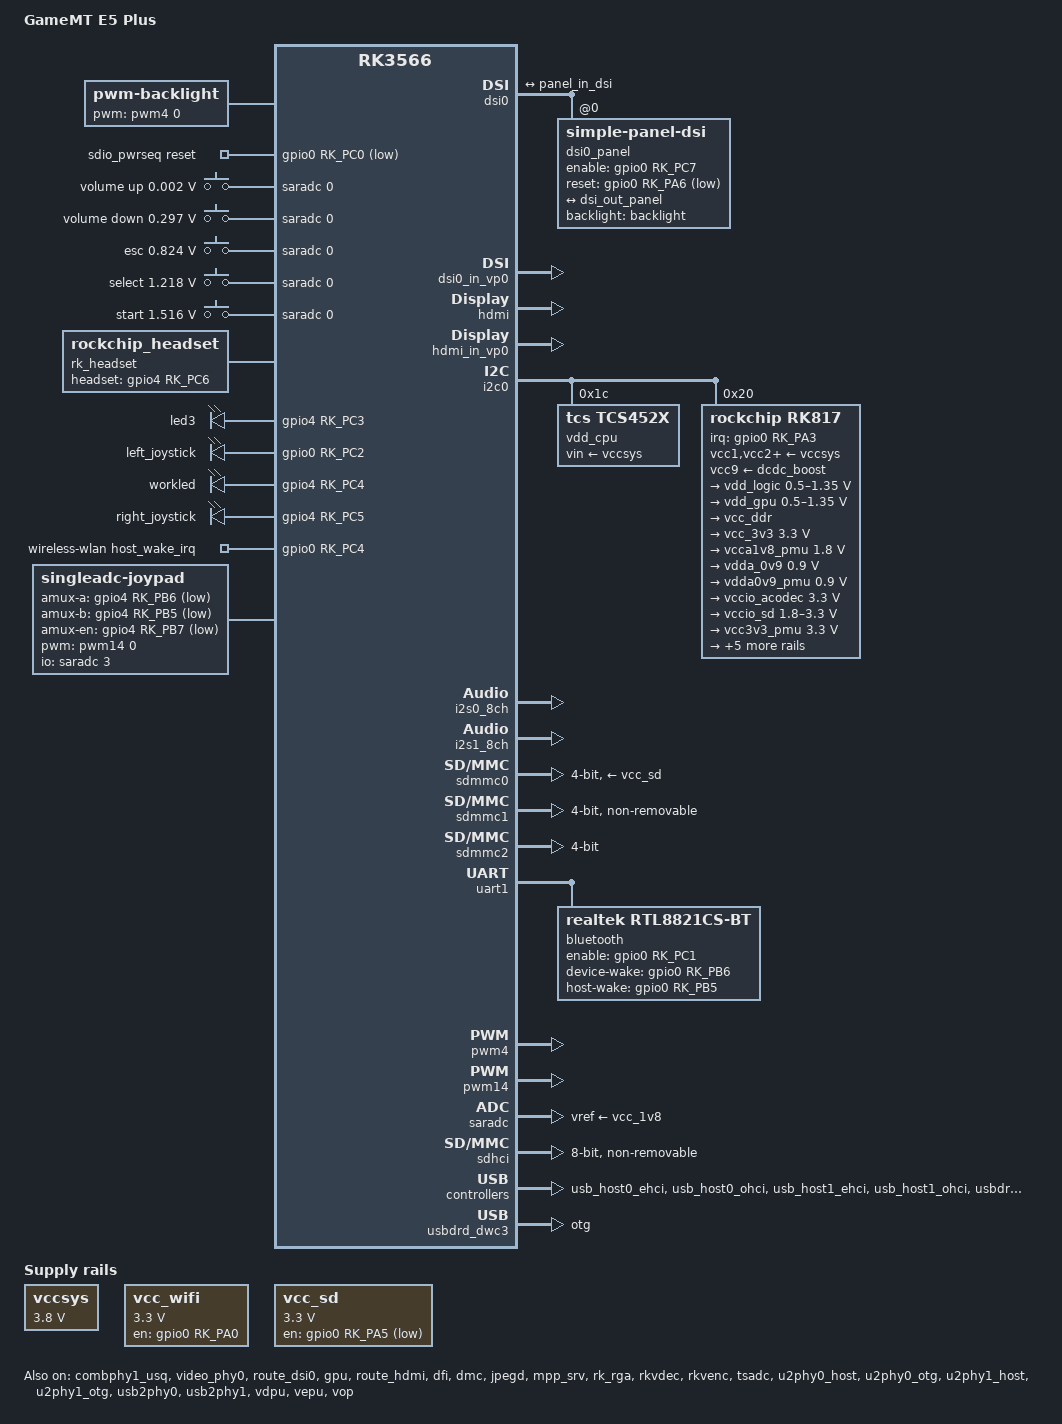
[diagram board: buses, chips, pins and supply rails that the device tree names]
// SPDX-License-Identifier: (GPL-2.0+ OR MIT)
/*
 * GameMT E5 Plus (RK3566, 720x1280 MIPI DSI panel mounted landscape).
 *
 * Board description for christianhaitian's 5.10 BSP kernel. The structure is
 * the RGB30's (rk3566-rgb30.dts in the same tree, known good on this kernel);
 * every board-specific value - panel, pins, PMIC rails, IO domains, battery,
 * charger, SD/SDIO layout - comes from the device tree the E5 Plus's own
 * JELOS/ROCKNIX 4.19 BSP image boots with (model "GameMT E5 Plus",
 * rk3566-evb2-lp4x-v10-linux.dtb), read back from a running unit.
 *
 * Differences from the RGB30 worth knowing:
 *  - TF2 is sdmmc2 (m1 pins, on gpio3) and Wi-Fi SDIO is sdmmc1 - the reverse
 *    of the RGB30. TF2 enumerates as mmcblk3; mount-spruce.sh scans by type,
 *    so nothing keys on the number.
 *  - The panel is portrait 720x1280 and needs fbcon=rotate:1 (stock bootargs).
 *  - Display and HDMI both hang off VP0 as on stock: VP1 tops out at 1080
 *    lines, and this panel is 1280 tall.
 *  - Buttons are mostly on gpio4; i2c2 must stay off (its m1 pins are D-pad
 *    down and the stick mux).
 *  - The right stick is wired with X/Y swapped and Y inverted, and the left
 *    stick is not inverted the way this driver assumes: switch-rxy,
 *    invert-absry, invert-absx and invert-absy, added to singleadcjoy by this
 *    unit's kernel patch.
 */

/dts-v1/;
#include <dt-bindings/pwm/pwm.h>
#include <dt-bindings/input/rk-input.h>
#include <dt-bindings/display/drm_mipi_dsi.h>
#include <dt-bindings/sensor-dev.h>
#include <dt-bindings/gpio/gpio.h>
#include <dt-bindings/display/media-bus-format.h>
#include <dt-bindings/pinctrl/rockchip.h>
#include "rk3566.dtsi"
#include "rk3568-linux.dtsi"
/ {
	model = "GameMT E5 Plus";
	compatible = "gamemt,e5plus", "rockchip,rk3566";

	backlight: backlight {
		compatible = "pwm-backlight";
		pwms = <&pwm4 0 25000 0>;
		/* Stock curve: the last entry is full duty. */
		brightness-levels = <
			  0  20  20  21  21  22  22  23
			 23  24  24  25  25  26  26  27
			 27  28  28  29  29  30  30  31
			 31  32  32  33  33  34  34  35
			 35  36  36  37  37  38  38  39
			 40  41  42  43  44  45  46  47
			 48  49  50  50  51  52  53  54
			 55  55  56  57  58  59  60  61
			 62  63  64  64  65  65  66  67
			 68  69  70  71  71  72  73  74
			 75  76  77  78  79  79  80  81
			 82  83  84  85  86  86  87  88
			 89  90  91  92  93  94  94  95
			 96  97  98  99 100 101 101 102
			103 104 105 106 107 107 108 109
			110 111 112 113 114 115 115 116
			117 118 119 120 121 122 123 123
			124 125 126 127 128 129 130 130
			131 132 133 134 135 136 136 137
			138 139 140 141 142 143 143 144
			145 146 147 147 148 149 150 151
			152 153 154 155 156 156 157 158
			159 157 158 159 160 161 162 162
			163 164 165 166 167 168 169 169
			170 171 172 173 174 175 175 176
			177 178 179 180 181 182 182 183
			184 185 186 187 188 189 190 190
			191 192 193 194 195 196 197 197
			198 199 200 201 202 203 204 204
			205 206 207 208 209 209 210 211
			212 213 213 214 214 215 215 216
			216 217 217 218 218 219 219 220>;
		default-brightness-level = <200>;
	};

	charge-animation {
		compatible = "rockchip,uboot-charge";
		rockchip,uboot-charge-on = <1>;
		rockchip,android-charge-on = <0>;
		rockchip,uboot-low-power-voltage = <3450>;
		rockchip,screen-on-voltage = <3400>;
		status = "okay";
	};

	hdmi_sound: hdmi-sound {
		compatible = "simple-audio-card";
		simple-audio-card,format = "i2s";
		simple-audio-card,mclk-fs = <128>;
		simple-audio-card,name = "rockchip,hdmi";
		/* Never card 0: see rk817-sound. */
		linux,snd-card-index = <1>;
		status = "okay";

		simple-audio-card,cpu {
			sound-dai = <&i2s0_8ch>;
		};
		simple-audio-card,codec {
			sound-dai = <&hdmi>;
		};
	};

	rk817-sound {
		status = "okay";
		compatible = "simple-audio-card";
		simple-audio-card,format = "i2s";
		simple-audio-card,name = "rockchip,rk817-codec";
		simple-audio-card,mclk-fs = <256>;
		/*
		 * dArkMoss and spruce address the codec as card 0. On this board
		 * both cards wait for the DRM bind and HDMI won the race, so pin
		 * the indices (0002-asoc-pin-card-index-from-dt.patch).
		 */
		linux,snd-card-index = <0>;

		simple-audio-card,cpu {
			sound-dai = <&i2s1_8ch>;
		};
		simple-audio-card,codec {
			sound-dai = <&rk817_codec>;
		};
	};

	vccsys: vccsys {
		compatible = "regulator-fixed";
		regulator-name = "vcc3v8_sys";
		regulator-always-on;
		regulator-boot-on;
		regulator-min-microvolt = <3800000>;
		regulator-max-microvolt = <3800000>;
	};

	/*
	 * GPIO0_A0 powers the whole RTL8821CS module (Wi-Fi and Bluetooth), as on
	 * the RGB30. The stock dtb drove it as an active-high pwrseq reset, which
	 * leaves it LOW once the card is up: on hardware neither the SDIO card
	 * nor the BT controller ever answered. Hold it high, as the RGB30 does.
	 */
	vcc_wifi: vcc-wifi {
		compatible = "regulator-fixed";
		regulator-name = "vcc_wifi";
		regulator-always-on;
		regulator-boot-on;
		enable-active-high;
		gpio = <&gpio0 RK_PA0 GPIO_ACTIVE_HIGH>;
		regulator-min-microvolt = <3300000>;
		regulator-max-microvolt = <3300000>;
		pinctrl-names = "default";
		pinctrl-0 = <&vcc_wifi_h>;
	};

	/* GPIO0_C0 is WL_REG_ON. */
	sdio_pwrseq: sdio-pwrseq {
		status = "okay";
		compatible = "mmc-pwrseq-simple";
		clocks = <&rk817 1>;
		clock-names = "ext_clock";
		pinctrl-names = "default";
		pinctrl-0 = <&wifi_enable_h>;
		post-power-on-delay-ms = <200>;
		reset-gpios = <&gpio0 RK_PC0 GPIO_ACTIVE_LOW>;
	};

	vcc_sd: vcc-sd {
		status = "okay";
		compatible = "regulator-gpio";
		enable-active-low;
		enable-gpio = <&gpio0 RK_PA5 GPIO_ACTIVE_LOW>;
		regulator-min-microvolt = <3300000>;
		regulator-max-microvolt = <3300000>;
		pinctrl-names = "default";
		pinctrl-0 = <&vcc_sd_h>;
		regulator-name = "vcc_sd";
		states = <3300000 0x0
			3300000 0x1>;
	};

	/* Volume and three legacy entries on the saradc ladder, as on stock. */
	adc_keys: adc-keys {
		compatible = "adc-keys";
		io-channels = <&saradc 0>;
		io-channel-names = "buttons";
		keyup-threshold-microvolt = <1800000>;
		poll-interval = <100>;

		vol-up-key {
			label = "volume up";
			linux,code = <KEY_VOLUMEUP>;
			press-threshold-microvolt = <1750>;
		};

		vol-down-key {
			label = "volume down";
			linux,code = <KEY_VOLUMEDOWN>;
			press-threshold-microvolt = <297500>;
		};

		esc-key {
			label = "esc";
			linux,code = <KEY_ESC>;
			press-threshold-microvolt = <824000>;
		};

		select-key {
			label = "select";
			linux,code = <KEY_RIGHTSHIFT>;
			press-threshold-microvolt = <1218000>;
		};

		start-key {
			label = "start";
			linux,code = <KEY_ENTER>;
			press-threshold-microvolt = <1516000>;
		};
	};

	rk_headset: rk-headset {
		compatible = "rockchip_headset";
		headset_gpio = <&gpio4 RK_PC6 GPIO_ACTIVE_HIGH>;
		pinctrl-names = "default";
		pinctrl-0 = <&hp_det>;
	};

	leds: gpio-leds {
		compatible = "gpio-leds";
		pinctrl-names = "default";
		pinctrl-0 = <&leds_gpio>;

		led3 {
			label = "led3";
			gpios = <&gpio4 RK_PC3 GPIO_ACTIVE_HIGH>;
			default-state = "on";
		};

		left-joystick {
			label = "left_joystick";
			gpios = <&gpio0 RK_PC2 GPIO_ACTIVE_HIGH>;
			default-state = "on";
		};

		workled {
			label = "workled";
			gpios = <&gpio4 RK_PC4 GPIO_ACTIVE_HIGH>;
			default-state = "on";
		};

		right-joystick {
			label = "right_joystick";
			gpios = <&gpio4 RK_PC5 GPIO_ACTIVE_HIGH>;
			default-state = "on";
		};
	};

	wireless-wlan {
		compatible = "wlan-platdata";
		rockchip,grf = <&grf>;
		wifi_chip_type = "rtl8821cs";
		pinctrl-names = "default";
		pinctrl-0 = <&wifi_host_wake_irq>;
		WIFI,host_wake_irq = <&gpio0 RK_PC4 GPIO_ACTIVE_HIGH>;
		status = "okay";
	};

	/* Bluetooth is the serdev node under uart1, as on the RGB30. */
	wireless-bluetooth {
		status = "disabled";
	};

	joypad: singleadc-joypad {
		compatible = "singleadc-joypad";

		joypad-name = "retrogame_joypad";
		joypad-product = <0x1101>;
		joypad-revision = <0x0100>;

		status = "okay";

		/* rumble */
		pwms = <&pwm14 0 10000 0>;

		pinctrl-names = "default";
		pinctrl-0 = <&btn_pins>;

		io-channel-names = "amux_adc";
		io-channels = <&saradc 3>;

		amux-count = <4>;
		amux-a-gpios = <&gpio4 RK_PB6 GPIO_ACTIVE_LOW>;
		amux-b-gpios = <&gpio4 RK_PB5 GPIO_ACTIVE_LOW>;
		amux-en-gpios = <&gpio4 RK_PB7 GPIO_ACTIVE_LOW>;

		button-adc-scale = <2>;
		button-adc-deadzone = <64>;
		button-adc-fuzz = <32>;
		button-adc-flat = <32>;

		abs_x-p-tuning = <450>;
		abs_x-n-tuning = <450>;
		abs_y-p-tuning = <450>;
		abs_y-n-tuning = <450>;
		abs_rx-p-tuning = <450>;
		abs_rx-n-tuning = <450>;
		abs_ry-p-tuning = <450>;
		abs_ry-n-tuning = <450>;

		/* Right stick: X/Y swapped, Y inverted (stock wiring). */
		switch-rxy;
		invert-absry;
		/*
		 * Left stick: undo the driver's default left-stick inversion,
		 * which is the RGB30 family's wiring, not this board's.
		 */
		invert-absx;
		invert-absy;

		poll-interval = <10>;

		sw1 {
			gpios = <&gpio4 RK_PB3 GPIO_ACTIVE_LOW>;
			label = "GPIO DPAD-UP";
			linux,code = <BTN_DPAD_UP>;
		};
		sw2 {
			gpios = <&gpio4 RK_PB4 GPIO_ACTIVE_LOW>;
			label = "GPIO DPAD-DOWN";
			linux,code = <BTN_DPAD_DOWN>;
		};
		sw3 {
			gpios = <&gpio4 RK_PB1 GPIO_ACTIVE_LOW>;
			label = "GPIO DPAD-LEFT";
			linux,code = <BTN_DPAD_LEFT>;
		};
		sw4 {
			gpios = <&gpio4 RK_PB2 GPIO_ACTIVE_LOW>;
			label = "GPIO DPAD-RIGHT";
			linux,code = <BTN_DPAD_RIGHT>;
		};
		sw5 {
			gpios = <&gpio4 RK_PA7 GPIO_ACTIVE_LOW>;
			label = "GPIO BTN-A";
			linux,code = <BTN_SOUTH>;
		};
		sw6 {
			gpios = <&gpio4 RK_PA6 GPIO_ACTIVE_LOW>;
			label = "GPIO BTN-B";
			linux,code = <BTN_EAST>;
		};
		sw7 {
			gpios = <&gpio4 RK_PA5 GPIO_ACTIVE_LOW>;
			label = "GPIO BTN-X";
			linux,code = <BTN_NORTH>;
		};
		sw8 {
			gpios = <&gpio4 RK_PB0 GPIO_ACTIVE_LOW>;
			label = "GPIO BTN-Y";
			linux,code = <BTN_WEST>;
		};
		sw9 {
			gpios = <&gpio3 RK_PD5 GPIO_ACTIVE_LOW>;
			label = "GPIO BTN_SELECT";
			linux,code = <BTN_SELECT>;
		};
		sw10 {
			gpios = <&gpio3 RK_PD4 GPIO_ACTIVE_LOW>;
			label = "GPIO BTN_START";
			linux,code = <BTN_START>;
		};
		sw11 {
			gpios = <&gpio3 RK_PD3 GPIO_ACTIVE_LOW>;
			label = "GPIO BTN_F";
			linux,code = <BTN_MODE>;
		};
		sw12 {
			gpios = <&gpio4 RK_PA1 GPIO_ACTIVE_LOW>;
			label = "GPIO BTN_TL";
			linux,code = <BTN_TL>;
		};
		sw13 {
			gpios = <&gpio4 RK_PA4 GPIO_ACTIVE_LOW>;
			label = "GPIO BTN_TR2";
			linux,code = <BTN_TR2>;
		};
		sw14 {
			gpios = <&gpio4 RK_PA2 GPIO_ACTIVE_LOW>;
			label = "GPIO BTN_TL2";
			linux,code = <BTN_TL2>;
		};
		sw15 {
			gpios = <&gpio4 RK_PA3 GPIO_ACTIVE_LOW>;
			label = "GPIO BTN_TR";
			linux,code = <BTN_TR>;
		};
		sw16 {
			gpios = <&gpio4 RK_PC0 GPIO_ACTIVE_LOW>;
			label = "GPIO BTN_THUMBL";
			linux,code = <BTN_THUMBL>;
		};
		sw17 {
			gpios = <&gpio4 RK_PC1 GPIO_ACTIVE_LOW>;
			label = "GPIO BTN_THUMBR";
			linux,code = <BTN_THUMBR>;
		};
	};
};

&combphy1_usq {
	status = "okay";
};

&csi2_dphy_hw {
	status = "disabled";
};

&csi2_dphy0 {
	status = "disabled";
};

&csi2_dphy1 {
	status = "disabled";
};

&csi2_dphy2 {
	status = "disabled";
};

/*
 * mipi_dphy0 needs to be enabled
 * when dsi0 is enabled
 */
&dsi0 {
	status = "okay";
	dsi0_panel: panel@0 {
		status = "okay";
		compatible = "simple-panel-dsi";
		reg = <0>;
		backlight = <&backlight>;
		enable-gpios = <&gpio0 RK_PC7 GPIO_ACTIVE_HIGH>;
		reset-gpios = <&gpio0 RK_PA6 GPIO_ACTIVE_LOW>;
		pinctrl-names = "default";
		pinctrl-0 = <&lcd0_rst_gpio &lcd0_en_gpio>;
		prepare-delay-ms = <120>;
		reset-delay-ms = <200>;
		init-delay-ms = <20>;
		enable-delay-ms = <20>;
		disable-delay-ms = <20>;
		unprepare-delay-ms = <120>;
		width-mm = <72>;
		height-mm = <128>;
		dsi,flags = <(MIPI_DSI_MODE_VIDEO           |
			      MIPI_DSI_MODE_VIDEO_BURST     |
			      MIPI_DSI_MODE_LPM             |
			      MIPI_DSI_MODE_EOT_PACKET)>;
		dsi,format = <MIPI_DSI_FMT_RGB888>;
		dsi,lanes  = <4>;
		/* Verbatim from the stock E5 Plus dtb. */
		panel-init-sequence = [
			15 00 02 00 00
			39 00 04 ff 12 84 01
			15 00 02 00 80
			39 00 03 ff 12 84
			15 00 02 00 92
			39 00 03 ff 30 02
			15 00 02 00 80
			39 00 0a c0 00 64 00 0e 12 00 64 0e 12
			15 00 02 00 81
			15 00 02 c1 55
			15 00 02 00 a0
			15 00 02 c1 02
			15 00 02 00 c6
			15 00 02 b0 03
			15 00 02 00 c2
			15 00 02 f5 40
			15 00 02 00 c3
			15 00 02 f5 85
			15 00 02 00 a0
			39 00 0f c4 05 10 06 02 05 15 10 05 10 07 02 05 15 10
			15 00 02 00 b0
			39 00 03 c4 00 00
			15 00 02 00 bb
			15 00 02 c5 8a
			15 00 02 00 91
			39 00 03 c5 16 52
			15 00 02 00 00
			39 00 03 d8 8d 8d
			15 00 02 00 00
			15 00 02 d9 68
			15 00 02 00 b3
			15 00 02 c5 84
			15 00 02 00 90
			39 00 05 f5 02 11 02 15
			15 00 02 00 90
			15 00 02 c5 50
			15 00 02 00 94
			15 00 02 c5 66
			15 00 02 00 b2
			39 00 03 f5 00 00
			15 00 02 00 b4
			39 00 03 f5 00 00
			15 00 02 00 b6
			39 00 03 f5 00 00
			15 00 02 00 b8
			39 00 03 f5 00 00
			15 00 02 00 94
			39 00 03 f5 00 00
			15 00 02 00 d2
			39 00 03 f5 06 15
			15 00 02 00 b4
			15 00 02 c5 cc
			15 00 02 00 80
			39 00 0c cb 00 00 00 00 00 00 00 00 00 00 00
			15 00 02 00 90
			39 00 10 cb 00 00 00 00 00 00 00 00 00 00 00 00 00 00 00
			15 00 02 00 a0
			39 00 10 cb 00 00 00 00 00 00 00 00 00 00 00 00 00 00 00
			15 00 02 00 b0
			39 00 10 cb 00 00 00 00 00 00 00 00 00 00 00 00 00 00 00
			15 00 02 00 c0
			39 00 10 cb 05 05 05 05 05 05 00 00 00 00 00 00 00 00 00
			15 00 02 00 d0
			39 00 10 cb 00 00 00 00 05 05 05 05 05 05 05 05 05 00 00
			15 00 02 00 e0
			39 00 0f cb 00 00 00 00 00 00 00 00 00 00 00 05 05 05
			15 00 02 00 f0
			39 00 0c cb ff ff ff ff ff ff ff fc ff ff ff
			15 00 02 00 80
			39 00 10 cc 0c 0a 10 0e 02 04 00 00 00 00 00 00 00 00 00
			15 00 02 00 90
			39 00 10 cc 00 00 00 00 06 2e 2d 0b 09 0f 0d 01 03 00 00
			15 00 02 00 a0
			39 00 0f cc 00 00 00 00 00 00 00 00 00 00 00 05 2e 2d
			15 00 02 00 b0
			39 00 10 cc 0d 0f 09 0b 03 01 00 00 00 00 00 00 00 00 00
			15 00 02 00 c0
			39 00 10 cc 00 00 00 00 06 2d 2e 0e 10 0a 0c 04 02 00 00
			15 00 02 00 d0
			39 00 0f cc 00 00 00 00 00 00 00 00 00 00 00 05 2d 2e
			15 00 02 00 80
			39 00 0d ce 8b 03 18 8a 03 18 89 03 18 88 03 18
			15 00 02 00 90
			39 00 0f ce 38 0f 18 38 0e 18 00 00 00 00 00 00 00 00
			15 00 02 00 a0
			39 00 0f ce 38 07 05 00 00 18 00 38 06 05 01 00 18 00
			15 00 02 00 b0
			39 00 0f ce 38 05 05 02 00 18 00 38 04 05 03 00 18 00
			15 00 02 00 c0
			39 00 0f ce 38 03 05 04 00 18 00 38 02 05 05 00 18 00
			15 00 02 00 d0
			39 00 0f ce 38 01 05 06 00 18 00 38 00 05 07 00 18 00
			15 00 02 00 80
			39 00 0f cf 00 00 00 00 00 00 00 00 00 00 00 00 00 00
			15 00 02 00 90
			39 00 0f cf 00 00 00 00 00 00 00 00 00 00 00 00 00 00
			15 00 02 00 a0
			39 00 0f cf 00 00 00 00 00 00 00 00 00 00 00 00 00 00
			15 00 02 00 b0
			39 00 0f cf 00 00 00 00 00 00 00 00 00 00 00 00 00 00
			15 00 02 00 c0
			39 00 0c cf 01 01 20 20 00 00 02 81 00 03 08
			15 00 02 00 b5
			39 00 07 c5 38 11 7f 38 11 7f
			15 00 02 00 00
			39 00 04 ff ff ff ff
			05 78 01 11
			05 14 01 29
		];

		panel-exit-sequence = [
			05 10 01 28
			05 20 01 10
		];

		disp_timings0: display-timings {
			native-mode = <&dsi0_timing0>;
			dsi0_timing0: timing0 {
				clock-frequency = <65000000>;
				hactive = <720>;
				vactive = <1280>;
				hfront-porch = <30>;
				hsync-len = <20>;
				hback-porch = <35>;
				vfront-porch = <17>;
				vsync-len = <4>;
				vback-porch = <31>;
				hsync-active = <0>;
				vsync-active = <0>;
				de-active = <0>;
				pixelclk-active = <0>;
			};
		};

		ports {
			#address-cells = <1>;
			#size-cells = <0>;

			port@0 {
				reg = <0>;
				panel_in_dsi: endpoint {
					remote-endpoint = <&dsi_out_panel>;
				};
			};
		};
	};

	ports {
		#address-cells = <1>;
		#size-cells = <0>;

		port@1 {
			reg = <1>;
			dsi_out_panel: endpoint {
				remote-endpoint = <&panel_in_dsi>;
			};
		};
	};
};

&dsi0_in_vp0 {
	status = "okay";
};

&dsi0_in_vp1 {
	status = "disabled";
};

/*
 * mipi_dphy1 needs to be enabled
 * when dsi1 is enabled
 */
&dsi1 {
	status = "disabled";
};

&dsi1_in_vp0 {
	status = "disabled";
};

&dsi1_in_vp1 {
	status = "disabled";
};

&video_phy0 {
	status = "okay";
};

&video_phy1 {
	status = "disabled";
};

&route_dsi0 {
	status = "okay";
	connect = <&vp0_out_dsi0>;
};

&gpu {
	mali-supply = <&vdd_gpu>;
	mem-supply = <&vdd_gpu>;
	status = "okay";
	operating-points-v2 = <&gpu_opp_table>;
};

&hdmi {
	status = "okay";
	rockchip,phy-table =
		<92812500  0x8009 0x0000 0x0270>,
		<165000000 0x800b 0x0000 0x026d>,
		<185625000 0x800b 0x0000 0x01ed>,
		<297000000 0x800b 0x0000 0x01ad>,
		<594000000 0x8029 0x0000 0x0088>,
		<000000000 0x0000 0x0000 0x0000>;
};

&hdmi_in_vp0 {
	status = "okay";
};

&hdmi_in_vp1 {
	status = "disabled";
};

&hdmi_sound {
	status = "okay";
};

&route_hdmi {
	status = "okay";
	connect = <&vp0_out_hdmi>;
};

&i2c0 {
	status = "okay";

	vdd_cpu: tcs4525@1c {
		compatible = "tcs,tcs452x";
		reg = <0x1c>;
		vin-supply = <&vccsys>;
		regulator-compatible = "fan53555-reg";
		regulator-name = "vdd_cpu";
		regulator-min-microvolt = <712500>;
		regulator-max-microvolt = <1390000>;
		regulator-init-microvolt = <900000>;
		regulator-ramp-delay = <2300>;
		fcs,suspend-voltage-selector = <1>;
		regulator-boot-on;
		regulator-always-on;
		regulator-state-mem {
			regulator-off-in-suspend;
		};
	};

	rk817: pmic@20 {
		compatible = "rockchip,rk817";
		reg = <0x20>;
		interrupt-parent = <&gpio0>;
		interrupts = <RK_PA3 IRQ_TYPE_LEVEL_LOW>;

		pinctrl-names = "default", "pmic-sleep",
				"pmic-power-off", "pmic-reset";
		pinctrl-0 = <&pmic_int>;
		pinctrl-1 = <&soc_slppin_slp>, <&rk817_slppin_slp>;
		pinctrl-2 = <&soc_slppin_gpio>, <&rk817_slppin_pwrdn>;
		pinctrl-3 = <&soc_slppin_gpio>, <&rk817_slppin_rst>;

		rockchip,system-power-controller;
		wakeup-source;
		#clock-cells = <1>;
		clock-output-names = "rk808-clkout1", "rk808-clkout2";
		/* 1: rst regs (default in codes), 0: rst the pmic */
		pmic-reset-func = <0>;
		/* not save the PMIC_POWER_EN register in uboot */
		not-save-power-en = <1>;

		vcc1-supply = <&vccsys>;
		vcc2-supply = <&vccsys>;
		vcc3-supply = <&vccsys>;
		vcc4-supply = <&vccsys>;
		vcc5-supply = <&vccsys>;
		vcc6-supply = <&vccsys>;
		vcc7-supply = <&vccsys>;
		vcc8-supply = <&vccsys>;
		vcc9-supply = <&dcdc_boost>;

		pwrkey {
			status = "okay";
		};

		pinctrl_rk8xx: pinctrl_rk8xx {
			gpio-controller;
			#gpio-cells = <2>;

			rk817_slppin_null: rk817_slppin_null {
				pins = "gpio_slp";
				function = "pin_fun0";
			};

			rk817_slppin_slp: rk817_slppin_slp {
				pins = "gpio_slp";
				function = "pin_fun1";
			};

			rk817_slppin_pwrdn: rk817_slppin_pwrdn {
				pins = "gpio_slp";
				function = "pin_fun2";
			};

			rk817_slppin_rst: rk817_slppin_rst {
				pins = "gpio_slp";
				function = "pin_fun3";
			};
		};

		/* Rails as on the stock E5 Plus dtb. */
		regulators {
			vdd_logic: DCDC_REG1 {
				regulator-always-on;
				regulator-boot-on;
				regulator-min-microvolt = <500000>;
				regulator-max-microvolt = <1350000>;
				regulator-init-microvolt = <900000>;
				regulator-ramp-delay = <6001>;
				regulator-initial-mode = <0x2>;
				regulator-name = "vdd_logic";
				regulator-state-mem {
					regulator-on-in-suspend;
					regulator-suspend-microvolt = <900000>;
				};
			};

			vdd_gpu: DCDC_REG2 {
				regulator-always-on;
				regulator-boot-on;
				regulator-min-microvolt = <500000>;
				regulator-max-microvolt = <1350000>;
				regulator-init-microvolt = <900000>;
				regulator-ramp-delay = <6001>;
				regulator-initial-mode = <0x2>;
				regulator-name = "vdd_gpu";
				regulator-state-mem {
					regulator-off-in-suspend;
				};
			};

			vcc_ddr: DCDC_REG3 {
				regulator-always-on;
				regulator-boot-on;
				regulator-initial-mode = <0x2>;
				regulator-name = "vcc_ddr";
				regulator-state-mem {
					regulator-on-in-suspend;
				};
			};

			vcc_3v3: DCDC_REG4 {
				regulator-always-on;
				regulator-boot-on;
				regulator-min-microvolt = <3300000>;
				regulator-max-microvolt = <3300000>;
				regulator-initial-mode = <0x2>;
				regulator-name = "vcc_3v3";
				regulator-state-mem {
					regulator-on-in-suspend;
				};
			};

			vcca1v8_pmu: LDO_REG1 {
				regulator-always-on;
				regulator-boot-on;
				regulator-min-microvolt = <1800000>;
				regulator-max-microvolt = <1800000>;
				regulator-name = "vcca1v8_pmu";
				regulator-state-mem {
					regulator-on-in-suspend;
					regulator-suspend-microvolt = <1800000>;
				};
			};

			vdda_0v9: LDO_REG2 {
				regulator-always-on;
				regulator-boot-on;
				regulator-min-microvolt = <900000>;
				regulator-max-microvolt = <900000>;
				regulator-name = "vdda_0v9";
				regulator-state-mem {
					regulator-off-in-suspend;
				};
			};

			vdda0v9_pmu: LDO_REG3 {
				regulator-always-on;
				regulator-boot-on;
				regulator-min-microvolt = <900000>;
				regulator-max-microvolt = <900000>;
				regulator-name = "vdda0v9_pmu";
				regulator-state-mem {
					regulator-on-in-suspend;
					regulator-suspend-microvolt = <900000>;
				};
			};

			vccio_acodec: LDO_REG4 {
				regulator-always-on;
				regulator-boot-on;
				regulator-min-microvolt = <3300000>;
				regulator-max-microvolt = <3300000>;
				regulator-name = "vccio_acodec";
				regulator-state-mem {
					regulator-off-in-suspend;
				};
			};

			/* TF1 IO */
			vccio_sd: LDO_REG5 {
				regulator-always-on;
				regulator-boot-on;
				regulator-min-microvolt = <1800000>;
				regulator-max-microvolt = <3300000>;
				regulator-name = "vccio_sd";
				regulator-state-mem {
					regulator-off-in-suspend;
				};
			};

			vcc3v3_pmu: LDO_REG6 {
				regulator-always-on;
				regulator-boot-on;
				regulator-min-microvolt = <3300000>;
				regulator-max-microvolt = <3300000>;
				regulator-name = "vcc3v3_pmu";
				regulator-state-mem {
					regulator-on-in-suspend;
					regulator-suspend-microvolt = <3000000>;
				};
			};

			vcc_1v8: LDO_REG7 {
				regulator-always-on;
				regulator-boot-on;
				regulator-min-microvolt = <1800000>;
				regulator-max-microvolt = <1800000>;
				regulator-name = "vcc_1v8";
				regulator-state-mem {
					regulator-off-in-suspend;
				};
			};

			/* vccio6 */
			vcc1v8_dvp: LDO_REG8 {
				regulator-always-on;
				regulator-boot-on;
				regulator-min-microvolt = <1800000>;
				regulator-max-microvolt = <1800000>;
				regulator-name = "vcc1v8_dvp";
				regulator-state-mem {
					regulator-on-in-suspend;
				};
			};

			/* vccio5: TF2 IO, switched 3.3/1.8 V for UHS */
			vcc2v8_dvp: LDO_REG9 {
				regulator-always-on;
				regulator-boot-on;
				regulator-min-microvolt = <1800000>;
				regulator-max-microvolt = <3300000>;
				regulator-name = "vcc2v8_dvp";
				regulator-state-mem {
					regulator-off-in-suspend;
				};
			};

			dcdc_boost: BOOST {
				regulator-always-on;
				regulator-boot-on;
				regulator-min-microvolt = <4700000>;
				regulator-max-microvolt = <5400000>;
				regulator-name = "boost";
				regulator-state-mem {
					regulator-off-in-suspend;
				};
			};

			otg_switch: OTG_SWITCH {
				regulator-name = "otg_switch";
				regulator-state-mem {
					regulator-off-in-suspend;
				};
			};
		};

		/* 5000 mAh class cell; values from the stock dtb. */
		battery {
			compatible = "rk817,battery";
			ocv_table = <3400 3460 3504 3546 3579 3607 3627
				3647 3670 3701 3745 3804 3850 3882
				3907 3959 4005 4024 4050 4106 4187>;
			design_capacity = <5120>;
			design_qmax = <5500>;
			bat_res = <67>;
			sleep_enter_current = <150>;
			sleep_exit_current = <180>;
			sleep_filter_current = <100>;
			power_off_thresd = <3400>;
			zero_algorithm_vol = <3850>;
			max_soc_offset = <60>;
			monitor_sec = <5>;
			sample_res = <10>;
			virtual_power = <0>;
		};

		/*
		 * No dc_det_gpio. Stock wires GPIO3_B5 (the IP2315 detect line)
		 * as DC-in, but on hardware it reads "DC present" with nothing
		 * plugged in, so the ac supply stayed online and the battery
		 * reported Charging from boot until a plug/unplug edge. The
		 * rk817's own VBUS/BC1.2 detection reads the port correctly
		 * (plugin=0 at boot, plugin=1 sdp=1 on a PC), as on the RGB30.
		 */
		charger {
			compatible = "rk817,charger";
			min_input_voltage = <4500>;
			max_input_current = <2000>;
			max_chrg_current = <2000>;
			max_chrg_voltage = <4300>;
			chrg_term_mode = <0>;
			chrg_finish_cur = <300>;
			virtual_power = <0>;
			dc_det_adc = <0>;
			extcon = <&usb2phy0>;
			gate_function_disable = <1>;
		};

		rk817_codec: codec {
			#sound-dai-cells = <0>;
			compatible = "rockchip,rk817-codec";
			clocks = <&cru I2S1_MCLKOUT>;
			clock-names = "mclk";
			assigned-clocks = <&cru I2S1_MCLKOUT>, <&cru I2S1_MCLK_TX_IOE>;
			assigned-clock-rates = <12288000>;
			assigned-clock-parents = <&cru I2S1_MCLKOUT_TX>, <&cru I2S1_MCLKOUT_TX>;
			pinctrl-names = "default";
			pinctrl-0 = <&i2s1m0_mclk>;
			hp-volume = <3>;
			spk-volume = <3>;
			out-l2spk-r2hp;
			spk-ctl-gpios = <&gpio4 RK_PC2 GPIO_ACTIVE_HIGH>;
			status = "okay";
		};
	};
};

/* i2c1-5 stay disabled, as on stock: i2c2m1 is D-pad down and the stick mux. */

&i2s0_8ch {
	status = "okay";
};

&i2s1_8ch {
	status = "okay";
	rockchip,clk-trcm = <1>;
	pinctrl-names = "default";
	pinctrl-0 = <&i2s1m0_sclktx
		     &i2s1m0_lrcktx
		     &i2s1m0_sdi0
		     &i2s1m0_sdo0>;
};

/* TF1: the dArkMoss boot card. */
&sdmmc0 {
	max-frequency = <150000000>;
	supports-sd;
	bus-width = <4>;
	disable-wp;
	cap-mmc-highspeed;
	cap-sd-highspeed;
	sd-uhs-sdr104;
	vmmc-supply = <&vcc_sd>;
	vqmmc-supply = <&vccio_sd>;
	pinctrl-names = "default";
	pinctrl-0 = <&sdmmc0_bus4 &sdmmc0_clk &sdmmc0_cmd &sdmmc0_det>;
	status = "okay";
};

/* RTL8821CS Wi-Fi (SDIO). */
&sdmmc1 {
	max-frequency = <150000000>;
	supports-sdio;
	bus-width = <4>;
	disable-wp;
	cap-sd-highspeed;
	cap-sdio-irq;
	keep-power-in-suspend;
	mmc-pwrseq = <&sdio_pwrseq>;
	non-removable;
	pinctrl-names = "default";
	pinctrl-0 = <&sdmmc1_bus4 &sdmmc1_cmd &sdmmc1_clk>;
	sd-uhs-sdr104;
	rockchip,default-sample-phase = <90>;
	status = "okay";
};

/* TF2: the spruce card. */
&sdmmc2 {
	max-frequency = <150000000>;
	supports-sd;
	bus-width = <4>;
	disable-wp;
	cap-mmc-highspeed;
	cap-sd-highspeed;
	sd-uhs-sdr104;
	vqmmc-supply = <&vcc2v8_dvp>;
	pinctrl-names = "default";
	pinctrl-0 = <&sdmmc2m1_bus4 &sdmmc2m1_cmd &sdmmc2m1_clk &sdmmc2m1_det>;
	status = "okay";
};

&uart1 {
	status = "okay";
	pinctrl-names = "default";
	pinctrl-0 = <&uart1m0_xfer &uart1m0_ctsn &uart1m0_rtsn>;
	uart-has-rtscts;

	bluetooth {
		compatible = "realtek,rtl8821cs-bt", "realtek,rtl8822cs-bt";
		enable-gpios = <&gpio0 RK_PC1 GPIO_ACTIVE_HIGH>;
		device-wake-gpios = <&gpio0 RK_PB6 GPIO_ACTIVE_HIGH>;
		host-wake-gpios = <&gpio0 RK_PB5 GPIO_ACTIVE_HIGH>;
		max-speed = <1500000>;
	};
};

&cpu0 {
	cpu-supply = <&vdd_cpu>;
};

&cpu1 {
	cpu-supply = <&vdd_cpu>;
};

&cpu2 {
	cpu-supply = <&vdd_cpu>;
};

&cpu3 {
	cpu-supply = <&vdd_cpu>;
};

&dfi {
	status = "okay";
};

&dmc {
	operating-points-v2 = <&dmc_opp_table>;
	center-supply = <&vdd_logic>;
	status = "okay";
};

&jpegd {
	status = "okay";
};

&jpegd_mmu {
	status = "okay";
};

&mpp_srv {
	status = "okay";
};

/* IO voltage domains: these must match the board, values from stock. */
&pmu_io_domains {
	status = "okay";
	pmuio1-supply = <&vcc3v3_pmu>;
	pmuio2-supply = <&vcca1v8_pmu>;
	vccio1-supply = <&vccio_acodec>;
	vccio3-supply = <&vccio_sd>;
	vccio4-supply = <&vcca1v8_pmu>;
	vccio5-supply = <&vcc2v8_dvp>;
	vccio6-supply = <&vcc1v8_dvp>;
	vccio7-supply = <&vcc_3v3>;
};

&pwm4 {
	status = "okay";
};

&pwm14 {
	status = "okay";
};

&rk_rga {
	status = "okay";
};

&rkvdec {
	status = "okay";
	dynamic-power-coefficient = <30>;
};

&rkvdec_mmu {
	status = "okay";
};

&rkvenc {
	venc-supply = <&vdd_logic>;
	status = "okay";
};

&rkvenc_mmu {
	status = "okay";
};

&saradc {
	status = "okay";
	vref-supply = <&vcc_1v8>;
};

&sdhci {
	bus-width = <8>;
	supports-emmc;
	non-removable;
	max-frequency = <200000000>;
	status = "okay";
};

&tsadc {
	status = "okay";
};

&u2phy0_host {
	status = "okay";
};

&u2phy0_otg {
	status = "okay";
};

&u2phy1_host {
	status = "okay";
};

&u2phy1_otg {
	status = "okay";
};

&usb2phy0 {
	status = "okay";
};

&usb2phy1 {
	status = "okay";
};

&usb_host0_ehci {
	status = "okay";
};

&usb_host0_ohci {
	status = "okay";
};

&usb_host1_ehci {
	status = "okay";
};

&usb_host1_ohci {
	status = "okay";
};

&usbdrd_dwc3 {
	dr_mode = "otg";
	extcon = <&usb2phy0>;
	status = "okay";
};

&usbdrd30 {
	status = "okay";
};

&usbhost_dwc3 {
	status = "okay";
};

&usbhost30 {
	status = "okay";
};

&vdpu {
	status = "okay";
};

&vdpu_mmu {
	status = "okay";
};

&vepu {
	status = "okay";
};

&vepu_mmu {
	status = "okay";
};

&vop {
	status = "okay";
	assigned-clocks = <&cru DCLK_VOP0>, <&cru DCLK_VOP1>;
	assigned-clock-parents = <&pmucru PLL_HPLL>, <&cru PLL_VPLL>;
};

&vop_mmu {
	status = "okay";
};

&pinctrl {
	headphone {
		hp_det: hp-det {
			rockchip,pins = <4 RK_PC6 RK_FUNC_GPIO &pcfg_pull_up>;
		};
	};

	sdio-pwrseq {
		wifi_enable_h: wifi-enable-h {
			rockchip,pins = <0 RK_PC0 RK_FUNC_GPIO &pcfg_pull_none>;
		};
	};

	power-wlan-bt {
		vcc_wifi_h: vcc-wifi-h {
			rockchip,pins = <0 RK_PA0 RK_FUNC_GPIO &pcfg_pull_none>;
		};
	};

	wireless-wlan {
		wifi_host_wake_irq: wifi-host-wake-irq {
			rockchip,pins = <0 RK_PC4 RK_FUNC_GPIO &pcfg_pull_down>;
		};
	};

	gpio-leds {
		leds_gpio: leds-gpio {
			rockchip,pins =
				<0 RK_PC2 RK_FUNC_GPIO &pcfg_pull_none>,
				<4 RK_PC3 RK_FUNC_GPIO &pcfg_pull_none>,
				<4 RK_PC4 RK_FUNC_GPIO &pcfg_pull_none>,
				<4 RK_PC5 RK_FUNC_GPIO &pcfg_pull_none>;
		};
	};

	lcd0 {
		lcd0_rst_gpio: lcd0-rst-gpio {
			rockchip,pins = <0 RK_PA6 RK_FUNC_GPIO &pcfg_pull_none>;
		};
		lcd0_en_gpio: lcd0-en-gpio {
			rockchip,pins = <0 RK_PC7 RK_FUNC_GPIO &pcfg_pull_none>;
		};
	};

	pmic {
		pmic_int: pmic_int {
			rockchip,pins =
				<0 RK_PA3 RK_FUNC_GPIO &pcfg_pull_up>;
		};

		soc_slppin_gpio: soc_slppin_gpio {
			rockchip,pins =
				<0 RK_PA2 RK_FUNC_GPIO &pcfg_output_low_pull_down>;
		};

		soc_slppin_slp: soc_slppin_slp {
			rockchip,pins =
				<0 RK_PA2 1 &pcfg_pull_up>;
		};

		soc_slppin_rst: soc_slppin_rst {
			rockchip,pins =
				<0 RK_PA2 2 &pcfg_pull_none>;
		};
	};

	vcc-sd {
		vcc_sd_h: vcc-sd-h {
			rockchip,pins = <0 RK_PA5 RK_FUNC_GPIO &pcfg_pull_none>;
		};
	};

	btns {
		btn_pins: btn-pins {
			rockchip,pins =
				<4 RK_PA1 RK_FUNC_GPIO &pcfg_pull_up>,
				<4 RK_PA2 RK_FUNC_GPIO &pcfg_pull_up>,
				<4 RK_PA3 RK_FUNC_GPIO &pcfg_pull_up>,
				<4 RK_PA4 RK_FUNC_GPIO &pcfg_pull_up>,
				<4 RK_PA5 RK_FUNC_GPIO &pcfg_pull_up>,
				<4 RK_PA6 RK_FUNC_GPIO &pcfg_pull_up>,
				<4 RK_PA7 RK_FUNC_GPIO &pcfg_pull_up>,
				<4 RK_PB0 RK_FUNC_GPIO &pcfg_pull_up>,
				<4 RK_PB1 RK_FUNC_GPIO &pcfg_pull_up>,
				<4 RK_PB2 RK_FUNC_GPIO &pcfg_pull_up>,
				<4 RK_PB3 RK_FUNC_GPIO &pcfg_pull_up>,
				<4 RK_PB4 RK_FUNC_GPIO &pcfg_pull_up>,
				<4 RK_PC0 RK_FUNC_GPIO &pcfg_pull_up>,
				<4 RK_PC1 RK_FUNC_GPIO &pcfg_pull_up>,
				<3 RK_PD3 RK_FUNC_GPIO &pcfg_pull_up>,
				<3 RK_PD4 RK_FUNC_GPIO &pcfg_pull_up>,
				<3 RK_PD5 RK_FUNC_GPIO &pcfg_pull_up>;
		};
	};
};
